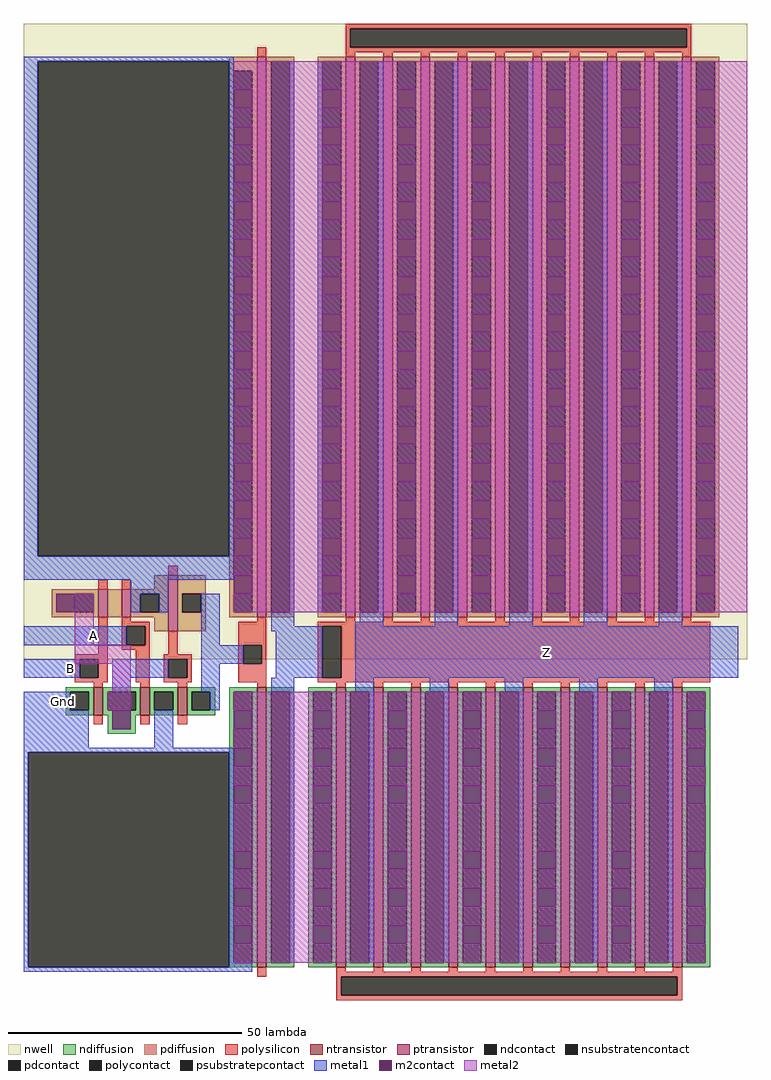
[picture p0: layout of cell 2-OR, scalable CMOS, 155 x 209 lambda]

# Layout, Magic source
magic
tech scmos
<< nwell >>
rect 147 -150 302 -14
<< ntransistor >>
rect 162 -162 164 -156
rect 172 -162 174 -156
rect 180 -162 182 -156
rect 197 -216 199 -156
rect 214 -216 216 -156
rect 222 -216 224 -156
rect 230 -216 232 -156
rect 238 -216 240 -156
rect 246 -216 248 -156
rect 254 -216 256 -156
rect 262 -216 264 -156
rect 270 -216 272 -156
rect 278 -216 280 -156
rect 286 -216 288 -156
<< ptransistor >>
rect 163 -141 165 -135
rect 168 -141 170 -135
rect 178 -144 180 -132
rect 197 -141 199 -21
rect 216 -141 218 -21
rect 224 -141 226 -21
rect 232 -141 234 -21
rect 240 -141 242 -21
rect 248 -141 250 -21
rect 256 -141 258 -21
rect 264 -141 266 -21
rect 272 -141 274 -21
rect 280 -141 282 -21
rect 288 -141 290 -21
<< ndiffusion >>
rect 156 -157 162 -156
rect 156 -161 157 -157
rect 161 -161 162 -157
rect 156 -162 162 -161
rect 164 -157 172 -156
rect 164 -161 165 -157
rect 171 -161 172 -157
rect 164 -162 172 -161
rect 174 -157 180 -156
rect 174 -161 175 -157
rect 179 -161 180 -157
rect 174 -162 180 -161
rect 182 -157 188 -156
rect 182 -161 183 -157
rect 187 -161 188 -157
rect 182 -162 188 -161
rect 191 -157 197 -156
rect 191 -161 192 -157
rect 196 -161 197 -157
rect 165 -166 171 -162
rect 191 -165 197 -161
rect 191 -169 192 -165
rect 196 -169 197 -165
rect 191 -173 197 -169
rect 191 -177 192 -173
rect 196 -177 197 -173
rect 191 -181 197 -177
rect 191 -191 192 -181
rect 196 -191 197 -181
rect 191 -195 197 -191
rect 191 -199 192 -195
rect 196 -199 197 -195
rect 191 -203 197 -199
rect 191 -207 192 -203
rect 196 -207 197 -203
rect 191 -211 197 -207
rect 191 -215 192 -211
rect 196 -215 197 -211
rect 191 -216 197 -215
rect 199 -157 205 -156
rect 199 -215 200 -157
rect 204 -215 205 -157
rect 199 -216 205 -215
rect 208 -157 214 -156
rect 208 -161 209 -157
rect 213 -161 214 -157
rect 208 -165 214 -161
rect 208 -169 209 -165
rect 213 -169 214 -165
rect 208 -173 214 -169
rect 208 -177 209 -173
rect 213 -177 214 -173
rect 208 -181 214 -177
rect 208 -191 209 -181
rect 213 -191 214 -181
rect 208 -195 214 -191
rect 208 -199 209 -195
rect 213 -199 214 -195
rect 208 -203 214 -199
rect 208 -207 209 -203
rect 213 -207 214 -203
rect 208 -211 214 -207
rect 208 -215 209 -211
rect 213 -215 214 -211
rect 208 -216 214 -215
rect 216 -157 222 -156
rect 216 -215 217 -157
rect 221 -215 222 -157
rect 216 -216 222 -215
rect 224 -157 230 -156
rect 224 -161 225 -157
rect 229 -161 230 -157
rect 224 -165 230 -161
rect 224 -169 225 -165
rect 229 -169 230 -165
rect 224 -173 230 -169
rect 224 -177 225 -173
rect 229 -177 230 -173
rect 224 -181 230 -177
rect 224 -191 225 -181
rect 229 -191 230 -181
rect 224 -195 230 -191
rect 224 -199 225 -195
rect 229 -199 230 -195
rect 224 -203 230 -199
rect 224 -207 225 -203
rect 229 -207 230 -203
rect 224 -211 230 -207
rect 224 -215 225 -211
rect 229 -215 230 -211
rect 224 -216 230 -215
rect 232 -157 238 -156
rect 232 -215 233 -157
rect 237 -215 238 -157
rect 232 -216 238 -215
rect 240 -157 246 -156
rect 240 -161 241 -157
rect 245 -161 246 -157
rect 240 -165 246 -161
rect 240 -169 241 -165
rect 245 -169 246 -165
rect 240 -173 246 -169
rect 240 -177 241 -173
rect 245 -177 246 -173
rect 240 -181 246 -177
rect 240 -191 241 -181
rect 245 -191 246 -181
rect 240 -195 246 -191
rect 240 -199 241 -195
rect 245 -199 246 -195
rect 240 -203 246 -199
rect 240 -207 241 -203
rect 245 -207 246 -203
rect 240 -211 246 -207
rect 240 -215 241 -211
rect 245 -215 246 -211
rect 240 -216 246 -215
rect 248 -157 254 -156
rect 248 -215 249 -157
rect 253 -215 254 -157
rect 248 -216 254 -215
rect 256 -157 262 -156
rect 256 -161 257 -157
rect 261 -161 262 -157
rect 256 -165 262 -161
rect 256 -169 257 -165
rect 261 -169 262 -165
rect 256 -173 262 -169
rect 256 -177 257 -173
rect 261 -177 262 -173
rect 256 -181 262 -177
rect 256 -191 257 -181
rect 261 -191 262 -181
rect 256 -195 262 -191
rect 256 -199 257 -195
rect 261 -199 262 -195
rect 256 -203 262 -199
rect 256 -207 257 -203
rect 261 -207 262 -203
rect 256 -211 262 -207
rect 256 -215 257 -211
rect 261 -215 262 -211
rect 256 -216 262 -215
rect 264 -157 270 -156
rect 264 -215 265 -157
rect 269 -215 270 -157
rect 264 -216 270 -215
rect 272 -157 278 -156
rect 272 -161 273 -157
rect 277 -161 278 -157
rect 272 -165 278 -161
rect 272 -169 273 -165
rect 277 -169 278 -165
rect 272 -173 278 -169
rect 272 -177 273 -173
rect 277 -177 278 -173
rect 272 -181 278 -177
rect 272 -191 273 -181
rect 277 -191 278 -181
rect 272 -195 278 -191
rect 272 -199 273 -195
rect 277 -199 278 -195
rect 272 -203 278 -199
rect 272 -207 273 -203
rect 277 -207 278 -203
rect 272 -211 278 -207
rect 272 -215 273 -211
rect 277 -215 278 -211
rect 272 -216 278 -215
rect 280 -157 286 -156
rect 280 -215 281 -157
rect 285 -215 286 -157
rect 280 -216 286 -215
rect 288 -157 294 -156
rect 288 -161 289 -157
rect 293 -161 294 -157
rect 288 -165 294 -161
rect 288 -169 289 -165
rect 293 -169 294 -165
rect 288 -173 294 -169
rect 288 -177 289 -173
rect 293 -177 294 -173
rect 288 -181 294 -177
rect 288 -191 289 -181
rect 293 -191 294 -181
rect 288 -195 294 -191
rect 288 -199 289 -195
rect 293 -199 294 -195
rect 288 -203 294 -199
rect 288 -207 289 -203
rect 293 -207 294 -203
rect 288 -211 294 -207
rect 288 -215 289 -211
rect 293 -215 294 -211
rect 288 -216 294 -215
<< pdiffusion >>
rect 191 -24 197 -21
rect 191 -28 192 -24
rect 196 -28 197 -24
rect 191 -32 197 -28
rect 191 -36 192 -32
rect 196 -36 197 -32
rect 191 -40 197 -36
rect 191 -44 192 -40
rect 196 -44 197 -40
rect 191 -48 197 -44
rect 191 -52 192 -48
rect 196 -52 197 -48
rect 191 -56 197 -52
rect 191 -60 192 -56
rect 196 -60 197 -56
rect 191 -64 197 -60
rect 191 -68 192 -64
rect 196 -68 197 -64
rect 191 -72 197 -68
rect 191 -76 192 -72
rect 196 -76 197 -72
rect 191 -80 197 -76
rect 191 -84 192 -80
rect 196 -84 197 -80
rect 191 -88 197 -84
rect 191 -92 192 -88
rect 196 -92 197 -88
rect 191 -96 197 -92
rect 191 -100 192 -96
rect 196 -100 197 -96
rect 191 -104 197 -100
rect 191 -108 192 -104
rect 196 -108 197 -104
rect 191 -112 197 -108
rect 191 -116 192 -112
rect 196 -116 197 -112
rect 191 -120 197 -116
rect 191 -124 192 -120
rect 196 -124 197 -120
rect 191 -128 197 -124
rect 191 -132 192 -128
rect 196 -132 197 -128
rect 175 -135 178 -132
rect 153 -136 163 -135
rect 153 -140 158 -136
rect 162 -140 163 -136
rect 153 -141 163 -140
rect 165 -141 168 -135
rect 170 -136 178 -135
rect 170 -140 172 -136
rect 176 -140 178 -136
rect 170 -141 178 -140
rect 175 -144 178 -141
rect 180 -136 186 -132
rect 180 -140 181 -136
rect 185 -140 186 -136
rect 180 -144 186 -140
rect 191 -136 197 -132
rect 191 -140 192 -136
rect 196 -140 197 -136
rect 191 -141 197 -140
rect 199 -22 205 -21
rect 199 -140 200 -22
rect 204 -140 205 -22
rect 199 -141 205 -140
rect 210 -22 216 -21
rect 210 -28 211 -22
rect 215 -28 216 -22
rect 210 -32 216 -28
rect 210 -36 211 -32
rect 215 -36 216 -32
rect 210 -40 216 -36
rect 210 -44 211 -40
rect 215 -44 216 -40
rect 210 -48 216 -44
rect 210 -52 211 -48
rect 215 -52 216 -48
rect 210 -56 216 -52
rect 210 -60 211 -56
rect 215 -60 216 -56
rect 210 -64 216 -60
rect 210 -68 211 -64
rect 215 -68 216 -64
rect 210 -72 216 -68
rect 210 -76 211 -72
rect 215 -76 216 -72
rect 210 -80 216 -76
rect 210 -84 211 -80
rect 215 -84 216 -80
rect 210 -88 216 -84
rect 210 -92 211 -88
rect 215 -92 216 -88
rect 210 -96 216 -92
rect 210 -100 211 -96
rect 215 -100 216 -96
rect 210 -104 216 -100
rect 210 -108 211 -104
rect 215 -108 216 -104
rect 210 -112 216 -108
rect 210 -116 211 -112
rect 215 -116 216 -112
rect 210 -120 216 -116
rect 210 -124 211 -120
rect 215 -124 216 -120
rect 210 -128 216 -124
rect 210 -132 211 -128
rect 215 -132 216 -128
rect 210 -136 216 -132
rect 210 -140 211 -136
rect 215 -140 216 -136
rect 210 -141 216 -140
rect 218 -22 224 -21
rect 218 -140 219 -22
rect 223 -140 224 -22
rect 218 -141 224 -140
rect 226 -22 232 -21
rect 226 -28 227 -22
rect 231 -28 232 -22
rect 226 -32 232 -28
rect 226 -36 227 -32
rect 231 -36 232 -32
rect 226 -40 232 -36
rect 226 -44 227 -40
rect 231 -44 232 -40
rect 226 -48 232 -44
rect 226 -52 227 -48
rect 231 -52 232 -48
rect 226 -56 232 -52
rect 226 -60 227 -56
rect 231 -60 232 -56
rect 226 -64 232 -60
rect 226 -68 227 -64
rect 231 -68 232 -64
rect 226 -72 232 -68
rect 226 -76 227 -72
rect 231 -76 232 -72
rect 226 -80 232 -76
rect 226 -84 227 -80
rect 231 -84 232 -80
rect 226 -88 232 -84
rect 226 -92 227 -88
rect 231 -92 232 -88
rect 226 -96 232 -92
rect 226 -100 227 -96
rect 231 -100 232 -96
rect 226 -104 232 -100
rect 226 -108 227 -104
rect 231 -108 232 -104
rect 226 -112 232 -108
rect 226 -116 227 -112
rect 231 -116 232 -112
rect 226 -120 232 -116
rect 226 -124 227 -120
rect 231 -124 232 -120
rect 226 -128 232 -124
rect 226 -132 227 -128
rect 231 -132 232 -128
rect 226 -136 232 -132
rect 226 -140 227 -136
rect 231 -140 232 -136
rect 226 -141 232 -140
rect 234 -22 240 -21
rect 234 -140 235 -22
rect 239 -140 240 -22
rect 234 -141 240 -140
rect 242 -22 248 -21
rect 242 -28 243 -22
rect 247 -28 248 -22
rect 242 -32 248 -28
rect 242 -36 243 -32
rect 247 -36 248 -32
rect 242 -40 248 -36
rect 242 -44 243 -40
rect 247 -44 248 -40
rect 242 -48 248 -44
rect 242 -52 243 -48
rect 247 -52 248 -48
rect 242 -56 248 -52
rect 242 -60 243 -56
rect 247 -60 248 -56
rect 242 -64 248 -60
rect 242 -68 243 -64
rect 247 -68 248 -64
rect 242 -72 248 -68
rect 242 -76 243 -72
rect 247 -76 248 -72
rect 242 -80 248 -76
rect 242 -84 243 -80
rect 247 -84 248 -80
rect 242 -88 248 -84
rect 242 -92 243 -88
rect 247 -92 248 -88
rect 242 -96 248 -92
rect 242 -100 243 -96
rect 247 -100 248 -96
rect 242 -104 248 -100
rect 242 -108 243 -104
rect 247 -108 248 -104
rect 242 -112 248 -108
rect 242 -116 243 -112
rect 247 -116 248 -112
rect 242 -120 248 -116
rect 242 -124 243 -120
rect 247 -124 248 -120
rect 242 -128 248 -124
rect 242 -132 243 -128
rect 247 -132 248 -128
rect 242 -136 248 -132
rect 242 -140 243 -136
rect 247 -140 248 -136
rect 242 -141 248 -140
rect 250 -22 256 -21
rect 250 -140 251 -22
rect 255 -140 256 -22
rect 250 -141 256 -140
rect 258 -22 264 -21
rect 258 -28 259 -22
rect 263 -28 264 -22
rect 258 -32 264 -28
rect 258 -36 259 -32
rect 263 -36 264 -32
rect 258 -40 264 -36
rect 258 -44 259 -40
rect 263 -44 264 -40
rect 258 -48 264 -44
rect 258 -52 259 -48
rect 263 -52 264 -48
rect 258 -56 264 -52
rect 258 -60 259 -56
rect 263 -60 264 -56
rect 258 -64 264 -60
rect 258 -68 259 -64
rect 263 -68 264 -64
rect 258 -72 264 -68
rect 258 -76 259 -72
rect 263 -76 264 -72
rect 258 -80 264 -76
rect 258 -84 259 -80
rect 263 -84 264 -80
rect 258 -88 264 -84
rect 258 -92 259 -88
rect 263 -92 264 -88
rect 258 -96 264 -92
rect 258 -100 259 -96
rect 263 -100 264 -96
rect 258 -104 264 -100
rect 258 -108 259 -104
rect 263 -108 264 -104
rect 258 -112 264 -108
rect 258 -116 259 -112
rect 263 -116 264 -112
rect 258 -120 264 -116
rect 258 -124 259 -120
rect 263 -124 264 -120
rect 258 -128 264 -124
rect 258 -132 259 -128
rect 263 -132 264 -128
rect 258 -136 264 -132
rect 258 -140 259 -136
rect 263 -140 264 -136
rect 258 -141 264 -140
rect 266 -22 272 -21
rect 266 -140 267 -22
rect 271 -140 272 -22
rect 266 -141 272 -140
rect 274 -22 280 -21
rect 274 -28 275 -22
rect 279 -28 280 -22
rect 274 -32 280 -28
rect 274 -36 275 -32
rect 279 -36 280 -32
rect 274 -40 280 -36
rect 274 -44 275 -40
rect 279 -44 280 -40
rect 274 -48 280 -44
rect 274 -52 275 -48
rect 279 -52 280 -48
rect 274 -56 280 -52
rect 274 -60 275 -56
rect 279 -60 280 -56
rect 274 -64 280 -60
rect 274 -68 275 -64
rect 279 -68 280 -64
rect 274 -72 280 -68
rect 274 -76 275 -72
rect 279 -76 280 -72
rect 274 -80 280 -76
rect 274 -84 275 -80
rect 279 -84 280 -80
rect 274 -88 280 -84
rect 274 -92 275 -88
rect 279 -92 280 -88
rect 274 -96 280 -92
rect 274 -100 275 -96
rect 279 -100 280 -96
rect 274 -104 280 -100
rect 274 -108 275 -104
rect 279 -108 280 -104
rect 274 -112 280 -108
rect 274 -116 275 -112
rect 279 -116 280 -112
rect 274 -120 280 -116
rect 274 -124 275 -120
rect 279 -124 280 -120
rect 274 -128 280 -124
rect 274 -132 275 -128
rect 279 -132 280 -128
rect 274 -136 280 -132
rect 274 -140 275 -136
rect 279 -140 280 -136
rect 274 -141 280 -140
rect 282 -22 288 -21
rect 282 -140 283 -22
rect 287 -140 288 -22
rect 282 -141 288 -140
rect 290 -22 296 -21
rect 290 -28 291 -22
rect 295 -28 296 -22
rect 290 -32 296 -28
rect 290 -36 291 -32
rect 295 -36 296 -32
rect 290 -40 296 -36
rect 290 -44 291 -40
rect 295 -44 296 -40
rect 290 -48 296 -44
rect 290 -52 291 -48
rect 295 -52 296 -48
rect 290 -56 296 -52
rect 290 -60 291 -56
rect 295 -60 296 -56
rect 290 -64 296 -60
rect 290 -68 291 -64
rect 295 -68 296 -64
rect 290 -72 296 -68
rect 290 -76 291 -72
rect 295 -76 296 -72
rect 290 -80 296 -76
rect 290 -84 291 -80
rect 295 -84 296 -80
rect 290 -88 296 -84
rect 290 -92 291 -88
rect 295 -92 296 -88
rect 290 -96 296 -92
rect 290 -100 291 -96
rect 295 -100 296 -96
rect 290 -104 296 -100
rect 290 -108 291 -104
rect 295 -108 296 -104
rect 290 -112 296 -108
rect 290 -116 291 -112
rect 295 -116 296 -112
rect 290 -120 296 -116
rect 290 -124 291 -120
rect 295 -124 296 -120
rect 290 -128 296 -124
rect 290 -132 291 -128
rect 295 -132 296 -128
rect 290 -136 296 -132
rect 290 -140 291 -136
rect 295 -140 296 -136
rect 290 -141 296 -140
<< ndcontact >>
rect 157 -161 161 -157
rect 165 -161 171 -157
rect 175 -161 179 -157
rect 183 -161 187 -157
rect 192 -161 196 -157
rect 192 -169 196 -165
rect 192 -177 196 -173
rect 192 -191 196 -181
rect 192 -199 196 -195
rect 192 -207 196 -203
rect 192 -215 196 -211
rect 200 -215 204 -157
rect 209 -161 213 -157
rect 209 -169 213 -165
rect 209 -177 213 -173
rect 209 -191 213 -181
rect 209 -199 213 -195
rect 209 -207 213 -203
rect 209 -215 213 -211
rect 217 -215 221 -157
rect 225 -161 229 -157
rect 225 -169 229 -165
rect 225 -177 229 -173
rect 225 -191 229 -181
rect 225 -199 229 -195
rect 225 -207 229 -203
rect 225 -215 229 -211
rect 233 -215 237 -157
rect 241 -161 245 -157
rect 241 -169 245 -165
rect 241 -177 245 -173
rect 241 -191 245 -181
rect 241 -199 245 -195
rect 241 -207 245 -203
rect 241 -215 245 -211
rect 249 -215 253 -157
rect 257 -161 261 -157
rect 257 -169 261 -165
rect 257 -177 261 -173
rect 257 -191 261 -181
rect 257 -199 261 -195
rect 257 -207 261 -203
rect 257 -215 261 -211
rect 265 -215 269 -157
rect 273 -161 277 -157
rect 273 -169 277 -165
rect 273 -177 277 -173
rect 273 -191 277 -181
rect 273 -199 277 -195
rect 273 -207 277 -203
rect 273 -215 277 -211
rect 281 -215 285 -157
rect 289 -161 293 -157
rect 289 -169 293 -165
rect 289 -177 293 -173
rect 289 -191 293 -181
rect 289 -199 293 -195
rect 289 -207 293 -203
rect 289 -215 293 -211
<< pdcontact >>
rect 192 -28 196 -24
rect 192 -36 196 -32
rect 192 -44 196 -40
rect 192 -52 196 -48
rect 192 -60 196 -56
rect 192 -68 196 -64
rect 192 -76 196 -72
rect 192 -84 196 -80
rect 192 -92 196 -88
rect 192 -100 196 -96
rect 192 -108 196 -104
rect 192 -116 196 -112
rect 192 -124 196 -120
rect 192 -132 196 -128
rect 158 -140 162 -136
rect 172 -140 176 -136
rect 181 -140 185 -136
rect 192 -140 196 -136
rect 200 -140 204 -22
rect 211 -28 215 -22
rect 211 -36 215 -32
rect 211 -44 215 -40
rect 211 -52 215 -48
rect 211 -60 215 -56
rect 211 -68 215 -64
rect 211 -76 215 -72
rect 211 -84 215 -80
rect 211 -92 215 -88
rect 211 -100 215 -96
rect 211 -108 215 -104
rect 211 -116 215 -112
rect 211 -124 215 -120
rect 211 -132 215 -128
rect 211 -140 215 -136
rect 219 -140 223 -22
rect 227 -28 231 -22
rect 227 -36 231 -32
rect 227 -44 231 -40
rect 227 -52 231 -48
rect 227 -60 231 -56
rect 227 -68 231 -64
rect 227 -76 231 -72
rect 227 -84 231 -80
rect 227 -92 231 -88
rect 227 -100 231 -96
rect 227 -108 231 -104
rect 227 -116 231 -112
rect 227 -124 231 -120
rect 227 -132 231 -128
rect 227 -140 231 -136
rect 235 -140 239 -22
rect 243 -28 247 -22
rect 243 -36 247 -32
rect 243 -44 247 -40
rect 243 -52 247 -48
rect 243 -60 247 -56
rect 243 -68 247 -64
rect 243 -76 247 -72
rect 243 -84 247 -80
rect 243 -92 247 -88
rect 243 -100 247 -96
rect 243 -108 247 -104
rect 243 -116 247 -112
rect 243 -124 247 -120
rect 243 -132 247 -128
rect 243 -140 247 -136
rect 251 -140 255 -22
rect 259 -28 263 -22
rect 259 -36 263 -32
rect 259 -44 263 -40
rect 259 -52 263 -48
rect 259 -60 263 -56
rect 259 -68 263 -64
rect 259 -76 263 -72
rect 259 -84 263 -80
rect 259 -92 263 -88
rect 259 -100 263 -96
rect 259 -108 263 -104
rect 259 -116 263 -112
rect 259 -124 263 -120
rect 259 -132 263 -128
rect 259 -140 263 -136
rect 267 -140 271 -22
rect 275 -28 279 -22
rect 275 -36 279 -32
rect 275 -44 279 -40
rect 275 -52 279 -48
rect 275 -60 279 -56
rect 275 -68 279 -64
rect 275 -76 279 -72
rect 275 -84 279 -80
rect 275 -92 279 -88
rect 275 -100 279 -96
rect 275 -108 279 -104
rect 275 -116 279 -112
rect 275 -124 279 -120
rect 275 -132 279 -128
rect 275 -140 279 -136
rect 283 -140 287 -22
rect 291 -28 295 -22
rect 291 -36 295 -32
rect 291 -44 295 -40
rect 291 -52 295 -48
rect 291 -60 295 -56
rect 291 -68 295 -64
rect 291 -76 295 -72
rect 291 -84 295 -80
rect 291 -92 295 -88
rect 291 -100 295 -96
rect 291 -108 295 -104
rect 291 -116 295 -112
rect 291 -124 295 -120
rect 291 -132 295 -128
rect 291 -140 295 -136
<< psubstratepcontact >>
rect 148 -216 191 -170
<< nsubstratencontact >>
rect 150 -128 191 -22
<< polysilicon >>
rect 216 -15 290 -14
rect 216 -19 217 -15
rect 289 -19 290 -15
rect 197 -21 199 -19
rect 216 -20 290 -19
rect 216 -21 218 -20
rect 224 -21 226 -20
rect 232 -21 234 -20
rect 240 -21 242 -20
rect 248 -21 250 -20
rect 256 -21 258 -20
rect 264 -21 266 -20
rect 272 -21 274 -20
rect 280 -21 282 -20
rect 288 -21 290 -20
rect 178 -132 180 -130
rect 163 -135 165 -133
rect 168 -135 170 -133
rect 163 -149 165 -141
rect 168 -142 170 -141
rect 168 -143 174 -142
rect 168 -147 169 -143
rect 173 -147 174 -143
rect 197 -142 199 -141
rect 216 -142 218 -141
rect 224 -142 226 -141
rect 232 -142 234 -141
rect 240 -142 242 -141
rect 248 -142 250 -141
rect 256 -142 258 -141
rect 264 -142 266 -141
rect 272 -142 274 -141
rect 280 -142 282 -141
rect 288 -142 290 -141
rect 168 -148 174 -147
rect 158 -150 165 -149
rect 158 -154 159 -150
rect 163 -154 165 -150
rect 158 -155 165 -154
rect 171 -155 174 -148
rect 178 -149 180 -144
rect 193 -147 199 -142
rect 177 -150 183 -149
rect 177 -154 178 -150
rect 182 -154 183 -150
rect 177 -155 183 -154
rect 193 -151 194 -147
rect 198 -151 199 -147
rect 193 -155 199 -151
rect 210 -143 294 -142
rect 210 -154 211 -143
rect 215 -154 294 -143
rect 210 -155 294 -154
rect 162 -156 164 -155
rect 172 -156 174 -155
rect 180 -156 182 -155
rect 197 -156 199 -155
rect 214 -156 216 -155
rect 222 -156 224 -155
rect 230 -156 232 -155
rect 238 -156 240 -155
rect 246 -156 248 -155
rect 254 -156 256 -155
rect 262 -156 264 -155
rect 270 -156 272 -155
rect 278 -156 280 -155
rect 286 -156 288 -155
rect 162 -164 164 -162
rect 172 -164 174 -162
rect 180 -164 182 -162
rect 197 -218 199 -216
rect 214 -217 216 -216
rect 222 -217 224 -216
rect 230 -217 232 -216
rect 238 -217 240 -216
rect 246 -217 248 -216
rect 254 -217 256 -216
rect 262 -217 264 -216
rect 270 -217 272 -216
rect 278 -217 280 -216
rect 286 -217 288 -216
rect 214 -218 288 -217
rect 214 -222 215 -218
rect 287 -222 288 -218
rect 214 -223 288 -222
<< polycontact >>
rect 217 -19 289 -15
rect 169 -147 173 -143
rect 159 -154 163 -150
rect 178 -154 182 -150
rect 194 -151 198 -147
rect 211 -154 215 -143
rect 215 -222 287 -218
<< metal1 >>
rect 147 -22 192 -21
rect 147 -128 150 -22
rect 191 -128 192 -22
rect 147 -133 192 -128
rect 170 -136 178 -133
rect 170 -140 172 -136
rect 176 -140 178 -136
rect 147 -147 169 -143
rect 185 -147 189 -136
rect 204 -140 205 -22
rect 210 -140 211 -22
rect 223 -140 224 -22
rect 239 -140 240 -22
rect 255 -140 256 -22
rect 271 -140 272 -22
rect 287 -140 288 -22
rect 200 -143 205 -140
rect 219 -142 224 -140
rect 218 -143 224 -142
rect 235 -143 240 -140
rect 251 -143 256 -140
rect 267 -143 272 -140
rect 283 -143 288 -140
rect 200 -144 211 -143
rect 147 -154 159 -150
rect 166 -154 178 -150
rect 185 -151 194 -147
rect 166 -157 170 -154
rect 185 -157 189 -151
rect 201 -154 211 -144
rect 218 -154 300 -143
rect 200 -157 205 -154
rect 218 -157 222 -154
rect 234 -157 238 -154
rect 250 -157 254 -154
rect 266 -157 270 -154
rect 282 -157 286 -154
rect 147 -161 157 -157
rect 187 -161 189 -157
rect 147 -169 161 -161
rect 175 -169 179 -161
rect 147 -170 192 -169
rect 147 -216 148 -170
rect 191 -215 192 -170
rect 204 -215 205 -157
rect 221 -215 222 -157
rect 237 -215 238 -157
rect 253 -215 254 -157
rect 269 -215 270 -157
rect 285 -215 286 -157
rect 191 -216 196 -215
rect 147 -217 196 -216
<< m2contact >>
rect 192 -32 196 -28
rect 192 -40 196 -36
rect 192 -48 196 -44
rect 192 -56 196 -52
rect 192 -64 196 -60
rect 192 -72 196 -68
rect 192 -80 196 -76
rect 192 -88 196 -84
rect 192 -96 196 -92
rect 192 -104 196 -100
rect 192 -112 196 -108
rect 192 -120 196 -116
rect 192 -128 196 -124
rect 192 -136 196 -132
rect 154 -140 158 -136
rect 211 -32 215 -28
rect 211 -40 215 -36
rect 211 -48 215 -44
rect 211 -56 215 -52
rect 211 -64 215 -60
rect 211 -72 215 -68
rect 211 -80 215 -76
rect 211 -88 215 -84
rect 211 -96 215 -92
rect 211 -104 215 -100
rect 211 -112 215 -108
rect 211 -120 215 -116
rect 211 -128 215 -124
rect 211 -136 215 -132
rect 227 -32 231 -28
rect 227 -40 231 -36
rect 227 -48 231 -44
rect 227 -56 231 -52
rect 227 -64 231 -60
rect 227 -72 231 -68
rect 227 -80 231 -76
rect 227 -88 231 -84
rect 227 -96 231 -92
rect 227 -104 231 -100
rect 227 -112 231 -108
rect 227 -120 231 -116
rect 227 -128 231 -124
rect 227 -136 231 -132
rect 243 -32 247 -28
rect 243 -40 247 -36
rect 243 -48 247 -44
rect 243 -56 247 -52
rect 243 -64 247 -60
rect 243 -72 247 -68
rect 243 -80 247 -76
rect 243 -88 247 -84
rect 243 -96 247 -92
rect 243 -104 247 -100
rect 243 -112 247 -108
rect 243 -120 247 -116
rect 243 -128 247 -124
rect 243 -136 247 -132
rect 259 -32 263 -28
rect 259 -40 263 -36
rect 259 -48 263 -44
rect 259 -56 263 -52
rect 259 -64 263 -60
rect 259 -72 263 -68
rect 259 -80 263 -76
rect 259 -88 263 -84
rect 259 -96 263 -92
rect 259 -104 263 -100
rect 259 -112 263 -108
rect 259 -120 263 -116
rect 259 -128 263 -124
rect 259 -136 263 -132
rect 275 -32 279 -28
rect 275 -40 279 -36
rect 275 -48 279 -44
rect 275 -56 279 -52
rect 275 -64 279 -60
rect 275 -72 279 -68
rect 275 -80 279 -76
rect 275 -88 279 -84
rect 275 -96 279 -92
rect 275 -104 279 -100
rect 275 -112 279 -108
rect 275 -120 279 -116
rect 275 -128 279 -124
rect 275 -136 279 -132
rect 291 -32 295 -28
rect 291 -40 295 -36
rect 291 -48 295 -44
rect 291 -56 295 -52
rect 291 -64 295 -60
rect 291 -72 295 -68
rect 291 -80 295 -76
rect 291 -88 295 -84
rect 291 -96 295 -92
rect 291 -104 295 -100
rect 291 -112 295 -108
rect 291 -120 295 -116
rect 291 -128 295 -124
rect 291 -136 295 -132
rect 166 -165 170 -161
rect 192 -165 196 -161
rect 192 -173 196 -169
rect 192 -181 196 -177
rect 192 -195 196 -191
rect 192 -203 196 -199
rect 192 -211 196 -207
rect 209 -165 213 -161
rect 209 -173 213 -169
rect 209 -181 213 -177
rect 209 -195 213 -191
rect 209 -203 213 -199
rect 209 -211 213 -207
rect 225 -165 229 -161
rect 225 -173 229 -169
rect 225 -181 229 -177
rect 225 -195 229 -191
rect 225 -203 229 -199
rect 225 -211 229 -207
rect 241 -165 245 -161
rect 241 -173 245 -169
rect 241 -181 245 -177
rect 241 -195 245 -191
rect 241 -203 245 -199
rect 241 -211 245 -207
rect 257 -165 261 -161
rect 257 -173 261 -169
rect 257 -181 261 -177
rect 257 -195 261 -191
rect 257 -203 261 -199
rect 257 -211 261 -207
rect 273 -165 277 -161
rect 273 -173 277 -169
rect 273 -181 277 -177
rect 273 -195 277 -191
rect 273 -203 277 -199
rect 273 -211 277 -207
rect 289 -165 293 -161
rect 289 -173 293 -169
rect 289 -181 293 -177
rect 289 -195 293 -191
rect 289 -203 293 -199
rect 289 -211 293 -207
<< metal2 >>
rect 192 -28 302 -22
rect 196 -32 211 -28
rect 215 -32 227 -28
rect 231 -32 243 -28
rect 247 -32 259 -28
rect 263 -32 275 -28
rect 279 -32 291 -28
rect 295 -32 302 -28
rect 192 -36 302 -32
rect 196 -40 211 -36
rect 215 -40 227 -36
rect 231 -40 243 -36
rect 247 -40 259 -36
rect 263 -40 275 -36
rect 279 -40 291 -36
rect 295 -40 302 -36
rect 192 -44 302 -40
rect 196 -48 211 -44
rect 215 -48 227 -44
rect 231 -48 243 -44
rect 247 -48 259 -44
rect 263 -48 275 -44
rect 279 -48 291 -44
rect 295 -48 302 -44
rect 192 -52 302 -48
rect 196 -56 211 -52
rect 215 -56 227 -52
rect 231 -56 243 -52
rect 247 -56 259 -52
rect 263 -56 275 -52
rect 279 -56 291 -52
rect 295 -56 302 -52
rect 192 -60 302 -56
rect 196 -64 211 -60
rect 215 -64 227 -60
rect 231 -64 243 -60
rect 247 -64 259 -60
rect 263 -64 275 -60
rect 279 -64 291 -60
rect 295 -64 302 -60
rect 192 -68 302 -64
rect 196 -72 211 -68
rect 215 -72 227 -68
rect 231 -72 243 -68
rect 247 -72 259 -68
rect 263 -72 275 -68
rect 279 -72 291 -68
rect 295 -72 302 -68
rect 192 -76 302 -72
rect 196 -80 211 -76
rect 215 -80 227 -76
rect 231 -80 243 -76
rect 247 -80 259 -76
rect 263 -80 275 -76
rect 279 -80 291 -76
rect 295 -80 302 -76
rect 192 -84 302 -80
rect 196 -88 211 -84
rect 215 -88 227 -84
rect 231 -88 243 -84
rect 247 -88 259 -84
rect 263 -88 275 -84
rect 279 -88 291 -84
rect 295 -88 302 -84
rect 192 -92 302 -88
rect 196 -96 211 -92
rect 215 -96 227 -92
rect 231 -96 243 -92
rect 247 -96 259 -92
rect 263 -96 275 -92
rect 279 -96 291 -92
rect 295 -96 302 -92
rect 192 -100 302 -96
rect 196 -104 211 -100
rect 215 -104 227 -100
rect 231 -104 243 -100
rect 247 -104 259 -100
rect 263 -104 275 -100
rect 279 -104 291 -100
rect 295 -104 302 -100
rect 192 -108 302 -104
rect 196 -112 211 -108
rect 215 -112 227 -108
rect 231 -112 243 -108
rect 247 -112 259 -108
rect 263 -112 275 -108
rect 279 -112 291 -108
rect 295 -112 302 -108
rect 192 -116 302 -112
rect 196 -120 211 -116
rect 215 -120 227 -116
rect 231 -120 243 -116
rect 247 -120 259 -116
rect 263 -120 275 -116
rect 279 -120 291 -116
rect 295 -120 302 -116
rect 192 -124 302 -120
rect 196 -128 211 -124
rect 215 -128 227 -124
rect 231 -128 243 -124
rect 247 -128 259 -124
rect 263 -128 275 -124
rect 279 -128 291 -124
rect 295 -128 302 -124
rect 192 -132 302 -128
rect 196 -136 211 -132
rect 215 -136 227 -132
rect 231 -136 243 -132
rect 247 -136 259 -132
rect 263 -136 275 -132
rect 279 -136 291 -132
rect 295 -136 302 -132
rect 158 -147 162 -136
rect 192 -140 302 -136
rect 158 -151 170 -147
rect 166 -157 170 -151
rect 165 -161 170 -157
rect 192 -161 293 -157
rect 196 -165 209 -161
rect 213 -165 225 -161
rect 229 -165 241 -161
rect 245 -165 257 -161
rect 261 -165 273 -161
rect 277 -165 289 -161
rect 192 -169 293 -165
rect 196 -173 209 -169
rect 213 -173 225 -169
rect 229 -173 241 -169
rect 245 -173 257 -169
rect 261 -173 273 -169
rect 277 -173 289 -169
rect 192 -177 293 -173
rect 196 -181 209 -177
rect 213 -181 225 -177
rect 229 -181 241 -177
rect 245 -181 257 -177
rect 261 -181 273 -177
rect 277 -181 289 -177
rect 192 -191 293 -181
rect 196 -195 209 -191
rect 213 -195 225 -191
rect 229 -195 241 -191
rect 245 -195 257 -191
rect 261 -195 273 -191
rect 277 -195 289 -191
rect 192 -199 293 -195
rect 196 -203 209 -199
rect 213 -203 225 -199
rect 229 -203 241 -199
rect 245 -203 257 -199
rect 261 -203 273 -199
rect 277 -203 289 -199
rect 192 -207 293 -203
rect 196 -211 209 -207
rect 213 -211 225 -207
rect 229 -211 241 -207
rect 245 -211 257 -207
rect 261 -211 273 -207
rect 277 -211 289 -207
rect 192 -215 293 -211
<< labels >>
rlabel metal1 155 -154 159 -150 1 B
rlabel metal1 155 -147 169 -143 1 A
rlabel metal1 218 -154 300 -143 1 Z
rlabel metal1 154 -161 157 -157 1 Gnd
<< end >>
